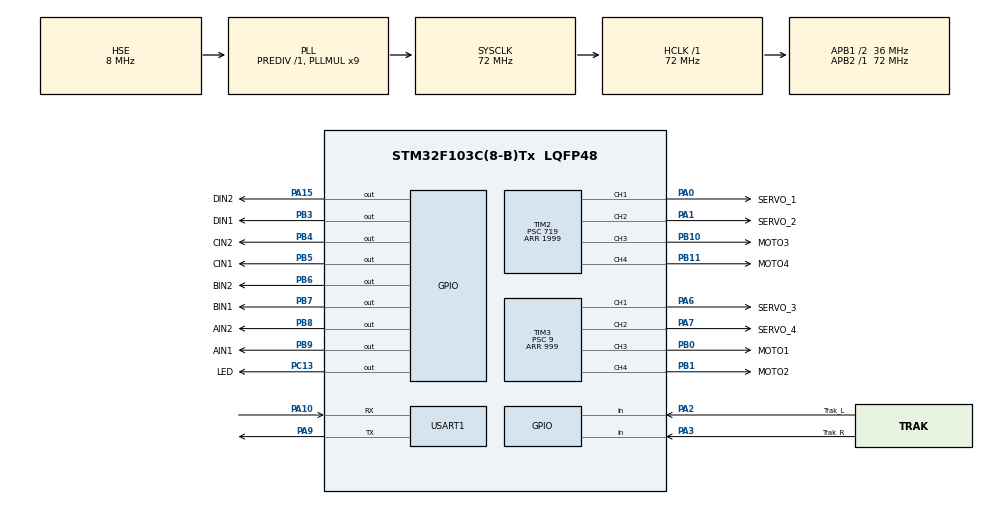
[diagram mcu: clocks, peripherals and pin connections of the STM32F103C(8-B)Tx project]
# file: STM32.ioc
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Mcu.Family=STM32F1
Mcu.Name=STM32F103C(8-B)Tx
Mcu.Package=LQFP48
NVIC.PriorityGroup=NVIC_PRIORITYGROUP_4
NVIC.USART1_IRQn=true\:1\:0\:true\:false\:true\:true\:true\:true
PA0-WKUP.GPIO_Label=SERVO_1
PA0-WKUP.Signal=S_TIM2_CH1_ETR
PA1.GPIO_Label=SERVO_2
PA1.Signal=S_TIM2_CH2
PA10.Mode=Asynchronous
PA10.Signal=USART1_RX
PA11.Signal=S_TIM1_CH4
PA13.Mode=Serial_Wire
PA13.Signal=SYS_JTMS-SWDIO
PA14.Mode=Serial_Wire
PA14.Signal=SYS_JTCK-SWCLK
PA15.GPIO_Label=DIN2
PA15.Signal=GPIO_Output
PA2.GPIO_Label=Trak_L
PA2.GPIO_PuPd=GPIO_PULLUP
PA2.Signal=GPIO_Input
PA3.GPIO_Label=Trak_R
PA3.GPIO_PuPd=GPIO_PULLUP
PA3.Signal=GPIO_Input
PA6.GPIO_Label=SERVO_3
PA6.Signal=S_TIM3_CH1
PA7.GPIO_Label=SERVO_4
PA7.Signal=S_TIM3_CH2
PA8.Signal=S_TIM1_CH1
PA9.Mode=Asynchronous
PA9.Signal=USART1_TX
PB0.GPIO_Label=MOTO1
PB0.Signal=S_TIM3_CH3
PB1.GPIO_Label=MOTO2
PB1.Signal=S_TIM3_CH4
PB10.GPIO_Label=MOTO3
PB10.Signal=S_TIM2_CH3
PB11.GPIO_Label=MOTO4
PB11.Signal=S_TIM2_CH4
PB3.GPIO_Label=DIN1
PB3.Signal=GPIO_Output
PB4.GPIO_Label=CIN2
PB4.Signal=GPIO_Output
PB5.GPIO_Label=CIN1
PB5.Signal=GPIO_Output
PB6.GPIO_Label=BIN2
PB6.Signal=GPIO_Output
PB7.GPIO_Label=BIN1
PB7.Signal=GPIO_Output
PB8.GPIO_Label=AIN2
PB8.Signal=GPIO_Output
PB9.GPIO_Label=AIN1
PB9.Signal=GPIO_Output
PC13-TAMPER-RTC.GPIO_Label=LED
PC13-TAMPER-RTC.Signal=GPIO_Output
PD0-OSC_IN.Mode=HSE-External-Oscillator
PD0-OSC_IN.Signal=RCC_OSC_IN
PD1-OSC_OUT.Mode=HSE-External-Oscillator
PD1-OSC_OUT.Signal=RCC_OSC_OUT
ProjectManager.HeapSize=0x200
ProjectManager.StackSize=0x400
ProjectManager.TargetToolchain=STM32CubeIDE
RCC.AHBFreq_Value=72000000
RCC.APB1CLKDivider=RCC_HCLK_DIV2
RCC.APB1Freq_Value=36000000
RCC.APB1TimFreq_Value=72000000
RCC.APB2Freq_Value=72000000
RCC.APB2TimFreq_Value=72000000
RCC.HCLKFreq_Value=72000000
RCC.PLLMUL=RCC_PLL_MUL9
RCC.PLLSourceVirtual=RCC_PLLSOURCE_HSE
RCC.SYSCLKFreq_VALUE=72000000
RCC.SYSCLKSource=RCC_SYSCLKSOURCE_PLLCLK
RCC.USBFreq_Value=72000000
SH.S_TIM1_CH1.0=TIM1_CH1
SH.S_TIM1_CH4.0=TIM1_CH4
SH.S_TIM2_CH1_ETR.0=TIM2_CH1,PWM Generation1 CH1
SH.S_TIM2_CH2.0=TIM2_CH2,PWM Generation2 CH2
SH.S_TIM2_CH3.0=TIM2_CH3,PWM Generation3 CH3
SH.S_TIM2_CH4.0=TIM2_CH4,PWM Generation4 CH4
SH.S_TIM3_CH1.0=TIM3_CH1,PWM Generation1 CH1
SH.S_TIM3_CH2.0=TIM3_CH2,PWM Generation2 CH2
SH.S_TIM3_CH3.0=TIM3_CH3,PWM Generation3 CH3
SH.S_TIM3_CH4.0=TIM3_CH4,PWM Generation4 CH4
TIM2.AutoReloadPreload=TIM_AUTORELOAD_PRELOAD_ENABLE
TIM2.Channel-PWM\ Generation1\ CH1=TIM_CHANNEL_1
TIM2.Channel-PWM\ Generation2\ CH2=TIM_CHANNEL_2
TIM2.Channel-PWM\ Generation3\ CH3=TIM_CHANNEL_3
TIM2.Channel-PWM\ Generation4\ CH4=TIM_CHANNEL_4
TIM2.Period=1999
TIM2.Prescaler=719
TIM2.Pulse-PWM\ Generation1\ CH1=0
TIM2.Pulse-PWM\ Generation2\ CH2=0
TIM2.Pulse-PWM\ Generation3\ CH3=0
TIM3.AutoReloadPreload=TIM_AUTORELOAD_PRELOAD_ENABLE
TIM3.Channel-PWM\ Generation1\ CH1=TIM_CHANNEL_1
TIM3.Channel-PWM\ Generation2\ CH2=TIM_CHANNEL_2
TIM3.Channel-PWM\ Generation3\ CH3=TIM_CHANNEL_3
TIM3.Channel-PWM\ Generation4\ CH4=TIM_CHANNEL_4
TIM3.Period=999
TIM3.Prescaler=9
USART1.VirtualMode=VM_ASYNC
VP_TIM2_VS_ClockSourceINT.Mode=Internal
VP_TIM3_VS_ClockSourceINT.Mode=Internal
board=custom

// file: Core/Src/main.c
/* USER CODE BEGIN Header */
/**
  ******************************************************************************
  * @file           : main.c
  * @brief          : Main program body
  ******************************************************************************
  * @attention
  *
  * Copyright (c) 2024 STMicroelectronics.
  * All rights reserved.
  *
  * This software is licensed under terms that can be found in the LICENSE file
  * in the root directory of this software component.
  * If no LICENSE file comes with this software, it is provided AS-IS.
  *
  ******************************************************************************
  */
/* USER CODE END Header */
#include "main.h"
#include "tim.h"
#include "usart.h"
#include "gpio.h"

/* USER CODE BEGIN Includes */
#include "retarget.h"
/* USER CODE END Includes */

void SystemClock_Config(void);
/* USER CODE BEGIN PFP */
void ChangeTimerPrescaler(TIM_HandleTypeDef *htim, uint32_t newPrescaler) {
    // 停止定时�???
    HAL_TIM_Base_Stop(htim);

    // 修改预分频系�???
    htim->Init.Prescaler = newPrescaler;

    // 重新初始化定时器
    HAL_TIM_Base_Init(htim);

    // 重新启动定时�???
    HAL_TIM_Base_Start(htim);
}
/* USER CODE END PFP */

/* USER CODE BEGIN 0 */
#define Target_Speed 500

extern uint8_t OpenMV_Rx_Data_Analysis_State;
extern short OpenMV_Rx_Data[6];             // 接收OpenMV数据

int Length_Flag = 12;
int Turn_Out = 0;
int Length = 0;
int err_x = 0;
int Deviation = 0;
int Para_Out = 0;
int Paralell_Flag = 0;//巡线后�?�抓取前之间的平移窗�?
int State = 1;//分为抓取模式�?0）和循迹模式�?1�?
int Turn_Flag=1;//是否给差速�?�巡线时启用
int Stop_Flag=1;//巡线结束停车、放下物体停�?
/* USER CODE END 0 */

int main(void)
{
  /* USER CODE BEGIN 1 */
  RetargetInit(&huart1);

  uint8_t rx_buffer[BUFFER_SIZE];  // 声明接收缓冲�??????????????

  /* USER CODE END 1 */

  /* MCU Configuration--------------------------------------------------------*/

  /* Reset of all peripherals, Initializes the Flash interface and the Systick. */
  HAL_Init();

  /* Configure the system clock */
  SystemClock_Config();

  /* Initialize all configured peripherals */
  MX_GPIO_Init();
  MX_TIM2_Init();
  MX_TIM3_Init();
  MX_USART1_UART_Init();
  /* USER CODE BEGIN 2 */
  HAL_UART_Receive_IT(&huart1, (uint8_t *)rx_buffer, 1);

//  //轮子PWM初始�?
    HAL_TIM_PWM_Start(&htim3,TIM_CHANNEL_1);
    HAL_TIM_PWM_Start(&htim3,TIM_CHANNEL_2);
    HAL_TIM_PWM_Start(&htim3,TIM_CHANNEL_3);
    HAL_TIM_PWM_Start(&htim3,TIM_CHANNEL_4);

    //舵机PWM初始�?
    HAL_TIM_PWM_Start(&htim2,TIM_CHANNEL_1);
    HAL_TIM_PWM_Start(&htim2,TIM_CHANNEL_3);
    HAL_TIM_PWM_Start(&htim2,TIM_CHANNEL_4);
    //机械臂初始收�?
    Arm_Init();

    //PID结构体定义（仅对巡线差�?�）
    PIDController PID_x;
    PIDController_Init(err_x,&PID_x);

    PIDController PID_d;
    PIDController_Init(Deviation,&PID_d);

//    //没有必要？没有必�?
//        // 设置时间步长（假设时间步长为100us�?
//        int dt = 100;

  /* USER CODE END 2 */

  /* Infinite loop */
  while (1)
  {

    /* USER CODE BEGIN 3 */
//      Translate_Move("Left",Para_Out);

      if (OpenMV_Rx_Data_Analysis_State)
      {
          OpenMV_Rx_Data_Analysis_State = 0;
          //�?共六位�?�第�?位为舵机控制、第二位为x偏差、第三位为距离�?�第四位为元素识别标志位、第五位为中线斜率�?�第六位0
          //调整舵机的�??
//          duoji_1 += -(OpenMV_Rx_Data[0]==1)*OpenMV_Rx_Data[1]+(OpenMV_Rx_Data[0]==0)*OpenMV_Rx_Data[1];
//          duoji_2 += -(OpenMV_Rx_Data[2]==1)*OpenMV_Rx_Data[3]+(OpenMV_Rx_Data[2]==0)*OpenMV_Rx_Data[3];
//          duoji_3 += -(OpenMV_Rx_Data[4]==1)*OpenMV_Rx_Data[5]+(OpenMV_Rx_Data[4]==0)*OpenMV_Rx_Data[5];

            //第一位为舵机控制
            //OpenMV_Rx_Data[0]
//            if(OpenMV_Rx_Data[0]==1)Arm_Shen();
//            else if(OpenMV_Rx_Data[0]==2)Arm_Suo();
//            else if(OpenMV_Rx_Data[0]==3)Arm_Jia();
//            else if(OpenMV_Rx_Data[0]==4)Arm_Song();

            //第1位为x偏差
            //OpenMV_Rx_Data[1]
            err_x = OpenMV_Rx_Data[0];
            Turn_Out = PID_Update(&PID_x,err_x);
//            printf("%d,%d\r\n",OpenMV_Rx_Data[1],Turn_Out);

            //第2位为距离、Length_Flag为标记距�?
            //OpenMV_Rx_Data[2]
            Length = OpenMV_Rx_Data[1];
            if(Length - Length_Flag<0){
                Paralell_Flag = 1;
                Forward(200,200);
                //执行平移操作
                //执行抓取操作
            }

            //第3位为元素识别标志
            //OpenMV_Rx_Data[3]
            Stop_Flag = OpenMV_Rx_Data[2];
            if(Stop_Flag){
                //识别到之后，�?始进行抓�?
                State = 0;
                //左右平移（根据x偏差�?
                //对准�? 进行Length判断
            }

          memset(OpenMV_Rx_Data, 0, sizeof(OpenMV_Rx_Data));
      }
      else OpenMV_Check_Data_Task();

      //夹取物体状�??
      if(State==0)
      {
          //平移
          if(Paralell_Flag == 1){

              Forward(0,0);
              //平移标志�? = 1�?
              //夹取动作�?
              //�?
              Arm_Shen();
              //前进�?段距�?
              Forward(200,200);
              HAL_Delay(1000);
              //夹取
              Arm_Jia();
              HAL_Delay(1000);

              Arm_Suo();
              //停止标志位�?�然后继续进入巡�?
              State  = 1;
              Paralell_Flag = 0;
          }
          else{

              err_x<0?-err_x:err_x;
              if(err_x> 20){

                  Para_Out = PID_Update(&PID_x,err_x);
                  Para_Out>0?Para_Out:-Para_Out;//绝对�?

                  if(err_x > 0){
                      Translate_Move("Left",Para_Out);
                  }
                  else if(err_x < 0){
                      Translate_Move("Right",Para_Out);
                  }
              }
          }
      }
      //巡线状�??
      else if(State==1)
      {

          //误差压入PID，给出差�?
          //这里不能使用err_x了，而是应该用中线斜�?
          int Left_Sensor = HAL_GPIO_ReadPin(GPIOA,GPIO_PIN_2);
          int Right_Sensor = HAL_GPIO_ReadPin(GPIOA,GPIO_PIN_3);

          if(Left_Sensor==0&&Right_Sensor==0){
                            Forward(300,300);
//              State = 0;

          }
          else if(Left_Sensor==1&&Right_Sensor==1)Forward(300,300);
          else if(Left_Sensor==0&&Right_Sensor==1)Forward(0,300);
          else if(Left_Sensor==1&&Right_Sensor==0)Forward(300,0);

            //当识别到元素

      }

      //防打架Delay
      HAL_Delay(100);

  }
  /* USER CODE END 3 */
}

void SystemClock_Config(void)
{
  RCC_OscInitTypeDef RCC_OscInitStruct = {0};
  RCC_ClkInitTypeDef RCC_ClkInitStruct = {0};

  /** Initializes the RCC Oscillators according to the specified parameters
  * in the RCC_OscInitTypeDef structure.
  */
  RCC_OscInitStruct.OscillatorType = RCC_OSCILLATORTYPE_HSE;
  RCC_OscInitStruct.HSEState = RCC_HSE_ON;
  RCC_OscInitStruct.HSEPredivValue = RCC_HSE_PREDIV_DIV1;
  RCC_OscInitStruct.HSIState = RCC_HSI_ON;
  RCC_OscInitStruct.PLL.PLLState = RCC_PLL_ON;
  RCC_OscInitStruct.PLL.PLLSource = RCC_PLLSOURCE_HSE;
  RCC_OscInitStruct.PLL.PLLMUL = RCC_PLL_MUL9;
  if (HAL_RCC_OscConfig(&RCC_OscInitStruct) != HAL_OK)
  {
    Error_Handler();
  }

  /** Initializes the CPU, AHB and APB buses clocks
  */
  RCC_ClkInitStruct.ClockType = RCC_CLOCKTYPE_HCLK|RCC_CLOCKTYPE_SYSCLK
                              |RCC_CLOCKTYPE_PCLK1|RCC_CLOCKTYPE_PCLK2;
  RCC_ClkInitStruct.SYSCLKSource = RCC_SYSCLKSOURCE_PLLCLK;
  RCC_ClkInitStruct.AHBCLKDivider = RCC_SYSCLK_DIV1;
  RCC_ClkInitStruct.APB1CLKDivider = RCC_HCLK_DIV2;
  RCC_ClkInitStruct.APB2CLKDivider = RCC_HCLK_DIV1;

  if (HAL_RCC_ClockConfig(&RCC_ClkInitStruct, FLASH_LATENCY_2) != HAL_OK)
  {
    Error_Handler();
  }
}

void Error_Handler(void)
{
  __disable_irq();
  while (1)
  {
  }
}
